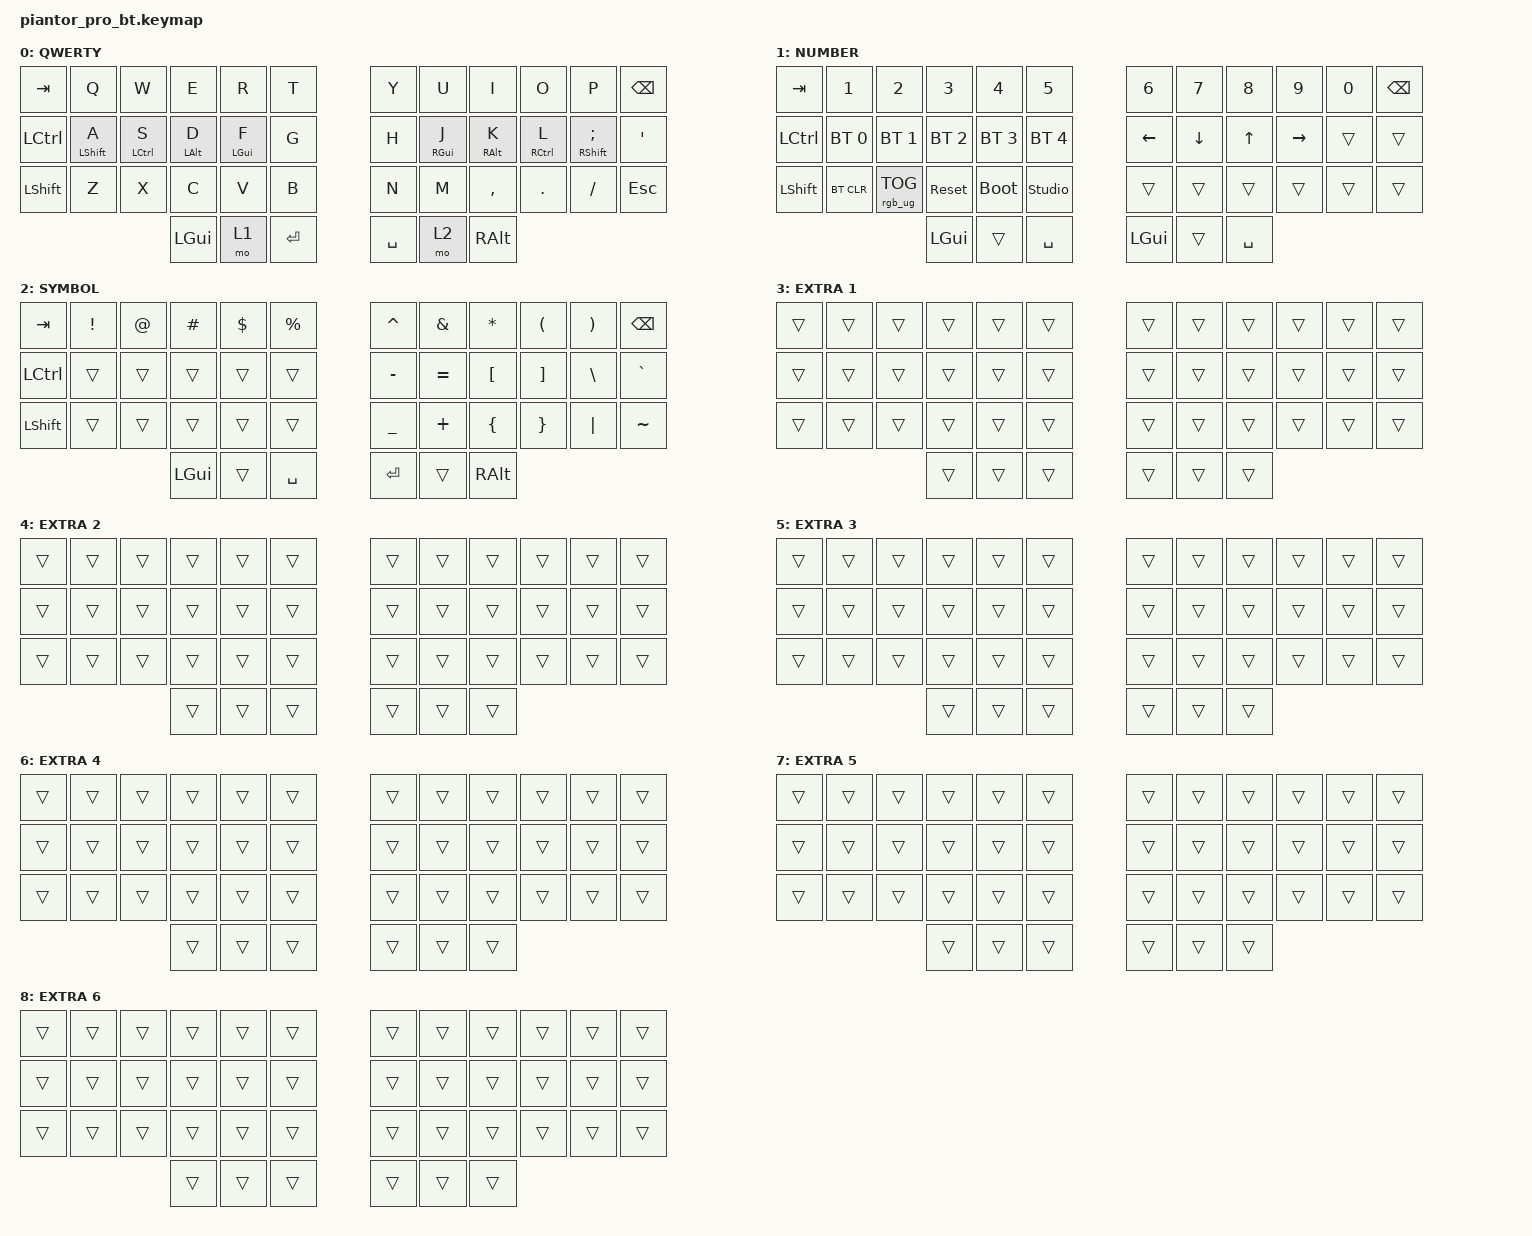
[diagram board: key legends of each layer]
/*
 * Copyright (c) 2020 The ZMK Contributors
 *
 * SPDX-License-Identifier: MIT
 */

#include <behaviors.dtsi>
#include <dt-bindings/zmk/keys.h>
#include <dt-bindings/zmk/bt.h>
#include <dt-bindings/zmk/rgb.h>

/ {
    chosen {
        zmk,physical-layout = &default_layout;
    };
};

/ {
    behaviors {
        hm: homerow_mods {
            compatible = "zmk,behavior-hold-tap";
            #binding-cells = <2>;
            tapping-term-ms = <250>;
            require-prior-idle-ms = <150>;
            flavor = "balanced";
            bindings = <&kp>, <&kp>;
        };
    };

    keymap {
        compatible = "zmk,keymap";

        default_layer {
            display-name = "QWERTY";
            // --------------------------------------------------------------------------------
            // |  TAB |  Q  |  W  |  E  |  R  |  T  |  Y  |  U   |  I  |  O  |  P  | BSPC |
            // | CTRL |  A  |  S  |  D  |  F  |  G  |  H  |  J   |  K  |  L  |  ;  |  '   |
            // | SHFT |  Z  |  X  |  C  |  V  |  B  |  N  |  M   |  ,  |  .  |  /  | ESC  |
            //                    | GUI | LWR | SPC | ENT | RSE  | ALT |
            bindings = <
                &kp TAB   &kp Q &kp W &kp E &kp R &kp T &kp Y &kp U  &kp I     &kp O   &kp P    &kp BSPC
                &kp LCTRL &hm LSHFT A &hm LCTRL S &hm LALT D &hm LGUI F &kp G &kp H &hm RGUI J  &hm RALT K  &hm RCTRL L  &hm RSHFT SEMI &kp SQT
                &kp LSHFT &kp Z &kp X &kp C &kp V &kp B &kp N &kp M  &kp COMMA &kp DOT &kp FSLH &kp ESC
                               &kp LGUI &mo 1 &kp RET &kp SPACE &mo 2 &kp RALT
            >;
        };

        lower_layer {
            display-name = "NUMBER";
            // -----------------------------------------------------------------------------------------
            // |  TAB |  1  |  2  |  3  |  4  |  5    |  6  |  7  |  8  |  9  |  0  | BSPC |
            // | CTRL | BT1 | BT2 | BT3 | BT4 | BT5   | LFT | DWN |  UP | RGT |     |      |
            // | SHFT | BTCR| RGB | RST | BOOT| Unlock|     |     |     |     |     |      |
            //                    | GUI |     | SPC   | ENT |     | ALT |
            bindings = <
                &kp TAB   &kp N1       &kp N2          &kp N3       &kp N4       &kp N5         &kp N6   &kp N7   &kp N8 &kp N9    &kp N0 &kp BSPC
                &kp LCTRL &bt BT_SEL 0 &bt BT_SEL 1    &bt BT_SEL 2 &bt BT_SEL 3 &bt BT_SEL 4   &kp LEFT &kp DOWN &kp UP &kp RIGHT &trans &trans
                &kp LSHFT &bt BT_CLR   &rgb_ug RGB_TOG &sys_reset   &bootloader  &studio_unlock &trans   &trans   &trans &trans    &trans &trans
                                                       &kp LGUI     &trans       &kp SPACE      &kp LGUI &trans   &kp SPACE
            >;
        };

        raise_layer {
            display-name = "SYMBOL";
            // -----------------------------------------------------------------------------------------
            // |  TAB |  !  |  @  |  #  |  $  |  %  |  ^  |  &  |  *  |  (  |  )  | BSPC |
            // | CTRL |     |     |     |     |     |  -  |  =  |  [  |  ]  |  \  |  `   |
            // | SHFT |     |     |     |     |     |  _  |  +  |  {  |  }  | "|" |  ~   |
            //                    | GUI |     | SPC | ENT |     | ALT |
            bindings = <
                &kp  TAB  &kp EXCL &kp AT &kp HASH &kp DLLR &kp PRCNT  &kp CARET &kp AMPS &kp ASTRK &kp LPAR &kp RPAR &kp BSPC
                &kp LCTRL &trans   &trans &trans   &trans   &trans     &kp MINUS &kp EQUAL &kp LBKT &kp RBKT &kp BSLH &kp GRAVE
                &kp LSHFT &trans   &trans &trans   &trans   &trans     &kp UNDER &kp PLUS  &kp LBRC &kp RBRC &kp PIPE &kp TILDE
                                          &kp LGUI &trans   &kp SPACE  &kp RET   &trans    &kp RALT
            >;
        };

        extra_layer_1 {
            display-name = "EXTRA 1";
            bindings = <
                &trans &trans &trans &trans &trans &trans  &trans &trans &trans &trans &trans &trans
                &trans &trans &trans &trans &trans &trans  &trans &trans &trans &trans &trans &trans
                &trans &trans &trans &trans &trans &trans  &trans &trans &trans &trans &trans &trans
                                     &trans &trans &trans  &trans &trans &trans       
            >;
        };

        extra_layer_2 {
            display-name = "EXTRA 2";
            bindings = <
                &trans &trans &trans &trans &trans &trans  &trans &trans &trans &trans &trans &trans
                &trans &trans &trans &trans &trans &trans  &trans &trans &trans &trans &trans &trans
                &trans &trans &trans &trans &trans &trans  &trans &trans &trans &trans &trans &trans
                                     &trans &trans &trans  &trans &trans &trans       
            >;
        };

        extra_layer_3 {
            display-name = "EXTRA 3";
            bindings = <
                &trans &trans &trans &trans &trans &trans  &trans &trans &trans &trans &trans &trans
                &trans &trans &trans &trans &trans &trans  &trans &trans &trans &trans &trans &trans
                &trans &trans &trans &trans &trans &trans  &trans &trans &trans &trans &trans &trans
                                     &trans &trans &trans  &trans &trans &trans       
            >;
        };

        extra_layer_4 {
            display-name = "EXTRA 4";
            bindings = <
                &trans &trans &trans &trans &trans &trans  &trans &trans &trans &trans &trans &trans
                &trans &trans &trans &trans &trans &trans  &trans &trans &trans &trans &trans &trans
                &trans &trans &trans &trans &trans &trans  &trans &trans &trans &trans &trans &trans
                                     &trans &trans &trans  &trans &trans &trans       
            >;
        };

        extra_layer_5 {
            display-name = "EXTRA 5";
            bindings = <
                &trans &trans &trans &trans &trans &trans  &trans &trans &trans &trans &trans &trans
                &trans &trans &trans &trans &trans &trans  &trans &trans &trans &trans &trans &trans
                &trans &trans &trans &trans &trans &trans  &trans &trans &trans &trans &trans &trans
                                     &trans &trans &trans  &trans &trans &trans       
            >;
        };

        extra_layer_6 {
            display-name = "EXTRA 6";
            bindings = <
                &trans &trans &trans &trans &trans &trans  &trans &trans &trans &trans &trans &trans
                &trans &trans &trans &trans &trans &trans  &trans &trans &trans &trans &trans &trans
                &trans &trans &trans &trans &trans &trans  &trans &trans &trans &trans &trans &trans
                                     &trans &trans &trans  &trans &trans &trans       
            >;
        };
    };
};
